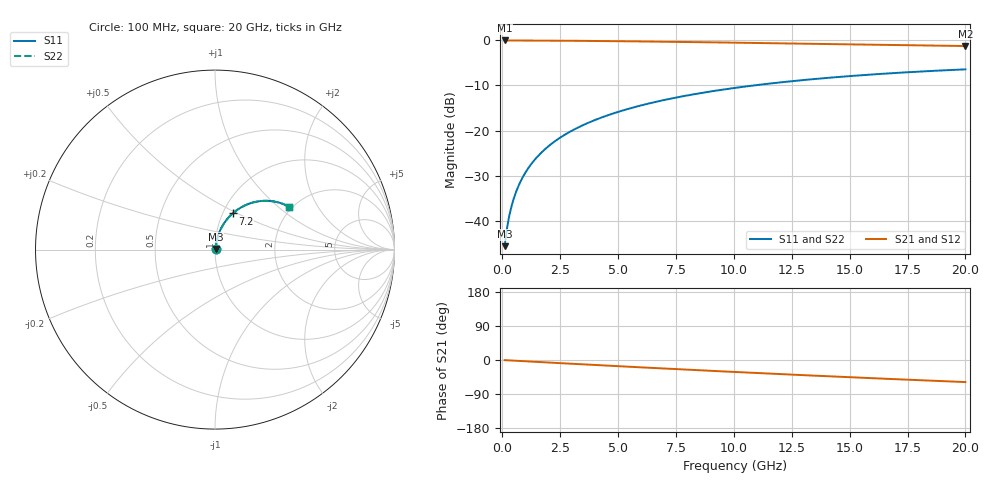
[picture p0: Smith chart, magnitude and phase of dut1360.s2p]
! Touchstone file exported from HFSS 2026.1.0
!  File:  C:/ffzhzh/LocalFiles/Ansys_Project_Files/temp_train_TMRDL_1360_1783165675_18472.aedt
!  Generated:  07:49:18 PM Jul  4, 2026
!  Design:  TMRDL
!  Project:  temp_train_TMRDL_1360_1783165675_18472
! Variables:
!  h_bsmrdl = 2um
!  h_ox = 20um
!  h_rdl = 5um
!  h_sub = 80um
!  h_tmrdl = 5.24um
!  h_tsv = 80um
!  h_via = 3um
!  l_bsmrdl = 300um
!  l_sub = 1330.4um
!  l_tmrdl = 930.4um
!  m_sub = 200um
!  pitch = 42.51um
!  r_tsv = 6um
!  s_tmrdl = 10um
!  w_bsmrdl = 18um
!  w_sub = 500um
!  w_tmrdl = 17.07um
!  x_tsv_center1 = 938.935um
!  x_tsv_center2 = 1256.935um
!  x_tsv_center3 = 2204.405um
!  x_tsv_center4 = 2522.405um
!  x_tsv_center5 = 3469.875um
!  x_tsv_center6 = 3787.875um
# GHz S MA R 50.000000
! Terminal data exported
! Port[1] = TM_RDL1_1_T1
! Port[2] = TM_RDL1_1_T2
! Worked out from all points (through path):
!   200 points, 100 MHz to 20 GHz, reference 50 ohm
!   highest |S21| = -0.03 dB at 100 MHz (marker M1); lowest = -1.3 dB at 20 GHz (marker M2)
!   group delay of S21, straight-line fit = 8.08 ps
!   lowest |S11| = -45.6 dB at 100 MHz (marker M3), VSWR 1.01, Z = 50.4 + j0.365 ohm
!   |S11| at or under -10 dB: start of sweep to 10.85 GHz
!   |S22| runs from -45.6 to -6.4 dB; largest |S21 - S12| = 1e-14
!   S11 on the Smith chart (normalised r, x): 100 MHz: 1.01, +0.01; 7.2 GHz: 1.11, +0.47; 20 GHz: 1.92, +1.19
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0.1  0.005252 43.5  0.9962 -0.3  0.9962 -0.3  0.005252 43.5
! Gamma 0 0 0 0
! Port Impedance 50 0 50 0
0.2  0.00819 60.3  0.996 -0.7  0.996 -0.7  0.00819 60.3
0.3  0.01136 67.6  0.9958 -1.0  0.9958 -1.0  0.01136 67.6
0.4  0.01459 71.5  0.9956 -1.4  0.9956 -1.4  0.01459 71.5
0.5  0.01784 74.0  0.9955 -1.7  0.9955 -1.7  0.01784 74.0
0.6  0.02112 75.7  0.9953 -2.0  0.9953 -2.0  0.02112 75.7
0.8  0.02771 77.7  0.995 -2.7  0.995 -2.7  0.02771 77.7
1.1  0.03765 78.9  0.9944 -3.7  0.9944 -3.7  0.03765 78.9
1.5  0.0509 79.1  0.9935 -5.0  0.9935 -5.0  0.0509 79.1
1.8  0.06079 78.8  0.9927 -6.0  0.9927 -6.0  0.06079 78.8
2.1  0.07062 78.3  0.9917 -7.0  0.9917 -7.0  0.07062 78.3
2.7  0.09005 76.9  0.9895 -9.0  0.9895 -9.0  0.09005 76.9
3.5  0.1154 74.7  0.9859 -11.5  0.9859 -11.5  0.1154 74.7
4.2  0.1371 72.7  0.9823 -13.8  0.9823 -13.8  0.1371 72.7
5  0.1612 70.4  0.9777 -16.3  0.9777 -16.3  0.1612 70.4
6.8  0.2129 65.2  0.9662 -21.9  0.9662 -21.9  0.2129 65.2
7.2  0.2239 64.0  0.9634 -23.1  0.9634 -23.1  0.224 64.0
8.6  0.2611 60.0  0.9532 -27.3  0.9532 -27.3  0.2611 60.0
10.1  0.2985 55.8  0.9415 -31.8  0.9415 -31.8  0.2985 55.8
13.4  0.3711 46.8  0.9146 -41.1  0.9146 -41.1  0.3711 46.8
16.7  0.4304 38.2  0.8881 -49.9  0.8881 -49.9  0.4304 38.2
20  0.4769 30.1  0.8642 -58.2  0.8642 -58.2  0.4769 30.1
